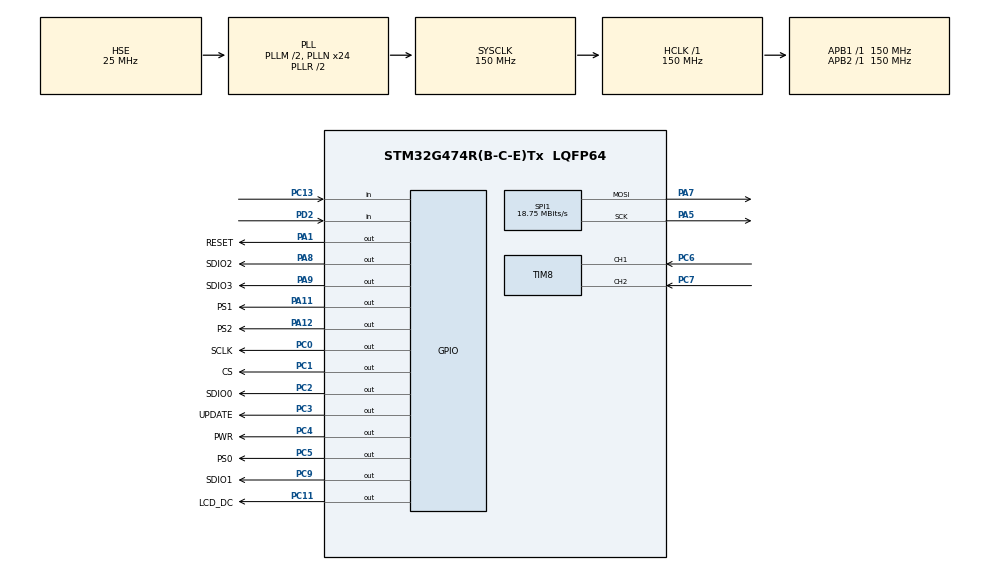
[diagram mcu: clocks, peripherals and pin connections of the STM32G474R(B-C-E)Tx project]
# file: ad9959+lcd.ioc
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Dma.Request0=SPI1_TX
Dma.SPI1_TX.0.Direction=DMA_MEMORY_TO_PERIPH
Dma.SPI1_TX.0.EventEnable=DISABLE
Dma.SPI1_TX.0.Instance=DMA1_Channel1
Dma.SPI1_TX.0.MemDataAlignment=DMA_MDATAALIGN_BYTE
Dma.SPI1_TX.0.MemInc=DMA_MINC_ENABLE
Dma.SPI1_TX.0.Mode=DMA_NORMAL
Dma.SPI1_TX.0.PeriphDataAlignment=DMA_PDATAALIGN_BYTE
Dma.SPI1_TX.0.PeriphInc=DMA_PINC_DISABLE
Dma.SPI1_TX.0.Polarity=HAL_DMAMUX_REQ_GEN_RISING
Dma.SPI1_TX.0.Priority=DMA_PRIORITY_LOW
Dma.SPI1_TX.0.RequestNumber=1
Dma.SPI1_TX.0.SignalID=NONE
Dma.SPI1_TX.0.SyncEnable=DISABLE
Dma.SPI1_TX.0.SyncPolarity=HAL_DMAMUX_SYNC_NO_EVENT
Dma.SPI1_TX.0.SyncRequestNumber=1
Dma.SPI1_TX.0.SyncSignalID=NONE
Mcu.Family=STM32G4
Mcu.Name=STM32G474R(B-C-E)Tx
Mcu.Package=LQFP64
NVIC.DMA1_Channel1_IRQn=true\:0\:0\:false\:false\:true\:false\:true\:true
NVIC.PriorityGroup=NVIC_PRIORITYGROUP_4
PA1.GPIO_Label=RESET
PA1.Signal=GPIO_Output
PA11.GPIO_Label=PS1
PA11.Signal=GPIO_Output
PA12.GPIO_Label=PS2
PA12.Signal=GPIO_Output
PA13.Mode=Trace_Asynchronous_SW
PA13.Signal=SYS_JTMS-SWDIO
PA14.Mode=Trace_Asynchronous_SW
PA14.Signal=SYS_JTCK-SWCLK
PA5.Mode=TX_Only_Simplex_Unidirect_Master
PA5.Signal=SPI1_SCK
PA7.Mode=TX_Only_Simplex_Unidirect_Master
PA7.Signal=SPI1_MOSI
PA8.GPIO_Label=SDIO2
PA8.Signal=GPIO_Output
PA9.GPIO_Label=SDIO3
PA9.Signal=GPIO_Output
PB3.Mode=Trace_Asynchronous_SW
PB3.Signal=SYS_JTDO-SWO
PC0.GPIO_Label=SCLK
PC0.Signal=GPIO_Output
PC1.GPIO_Label=CS
PC1.Signal=GPIO_Output
PC11.GPIO_Label=LCD_DC
PC11.Signal=GPIO_Output
PC13.GPIO_PuPd=GPIO_PULLUP
PC13.Signal=GPIO_Input
PC2.GPIO_Label=SDIO0
PC2.Signal=GPIO_Output
PC3.GPIO_Label=UPDATE
PC3.Signal=GPIO_Output
PC4.GPIO_Label=PWR
PC4.Signal=GPIO_Output
PC5.GPIO_Label=PS0
PC5.Signal=GPIO_Output
PC6.GPIO_PuPd=GPIO_PULLUP
PC6.Signal=S_TIM8_CH1
PC7.GPIO_PuPd=GPIO_PULLUP
PC7.Signal=S_TIM8_CH2
PC9.GPIO_Label=SDIO1
PC9.Signal=GPIO_Output
PD2.GPIO_PuPd=GPIO_PULLUP
PD2.Signal=GPIO_Input
PF0-OSC_IN.Mode=HSE-External-Oscillator
PF0-OSC_IN.Signal=RCC_OSC_IN
PF1-OSC_OUT.Mode=HSE-External-Oscillator
PF1-OSC_OUT.Signal=RCC_OSC_OUT
ProjectManager.HeapSize=0x200
ProjectManager.StackSize=0x400
ProjectManager.TargetToolchain=STM32CubeIDE
RCC.ADC12Freq_Value=150000000
RCC.ADC345Freq_Value=150000000
RCC.AHBFreq_Value=150000000
RCC.APB1Freq_Value=150000000
RCC.APB1TimFreq_Value=150000000
RCC.APB2Freq_Value=150000000
RCC.APB2TimFreq_Value=150000000
RCC.CortexFreq_Value=150000000
RCC.EXTERNAL_CLOCK_VALUE=12288000
RCC.HCLKFreq_Value=150000000
RCC.HSE_VALUE=25000000
RCC.HSI48_VALUE=48000000
RCC.HSI_VALUE=16000000
RCC.LSE_VALUE=32768
RCC.PLLM=RCC_PLLM_DIV2
RCC.PLLN=24
RCC.PLLSourceVirtual=RCC_PLLSOURCE_HSE
RCC.SYSCLKFreq_VALUE=150000000
RCC.SYSCLKSource=RCC_SYSCLKSOURCE_PLLCLK
RCC.USBFreq_Value=150000000
RCC.VCOOutputFreq_Value=300000000
SH.S_TIM8_CH1.0=TIM8_CH1,Encoder_Interface
SH.S_TIM8_CH2.0=TIM8_CH2,Encoder_Interface
SPI1.BaudRatePrescaler=SPI_BAUDRATEPRESCALER_8
SPI1.CLKPhase=SPI_PHASE_1EDGE
SPI1.CLKPolarity=SPI_POLARITY_LOW
SPI1.CalculateBaudRate=18.75 MBits/s
SPI1.DataSize=SPI_DATASIZE_8BIT
SPI1.Direction=SPI_DIRECTION_2LINES
SPI1.Mode=SPI_MODE_MASTER
SPI1.NSSPMode=SPI_NSS_PULSE_DISABLE
SPI1.VirtualType=VM_MASTER
TIM8.EncoderMode=TIM_ENCODERMODE_TI12
TIM8.IC1Filter=0
TIM8.IC2Filter=0
VP_SYS_VS_DBSignals.Mode=DisableDeadBatterySignals
board=custom

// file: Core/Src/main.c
/* USER CODE BEGIN Header */
/**
  ******************************************************************************
  * @file           : main.c
  * @brief          : Main program body
  ******************************************************************************
  * @attention
  *
  * Copyright (c) 2024 STMicroelectronics.
  * All rights reserved.
  *
  * This software is licensed under terms that can be found in the LICENSE file
  * in the root directory of this software component.
  * If no LICENSE file comes with this software, it is provided AS-IS.
  *
  ******************************************************************************
  */
/* USER CODE END Header */
#include "main.h"

/* USER CODE BEGIN Includes */
#include "tft18.h"
/* USER CODE END Includes */

SPI_HandleTypeDef hspi1;
DMA_HandleTypeDef hdma_spi1_tx;

TIM_HandleTypeDef htim8;

void SystemClock_Config(void);
static void MX_GPIO_Init(void);
static void MX_DMA_Init(void);
static void MX_SPI1_Init(void);
static void MX_TIM8_Init(void);

/* USER CODE BEGIN 0 */
#define SCLK_LOW HAL_GPIO_WritePin(GPIOC, 1<<0, GPIO_PIN_RESET)
#define SCLK_HIGH HAL_GPIO_WritePin(GPIOC, 1<<0, GPIO_PIN_SET)
#define CS_LOW HAL_GPIO_WritePin(GPIOC, 1<<1, GPIO_PIN_RESET)
#define CS_HIGH HAL_GPIO_WritePin(GPIOC, 1<<1, GPIO_PIN_SET)
#define SDIO0_LOW HAL_GPIO_WritePin(GPIOC, 1<<2, GPIO_PIN_RESET)
#define SDIO0_HIGH HAL_GPIO_WritePin(GPIOC, 1<<2, GPIO_PIN_SET)
#define UPDATE_LOW HAL_GPIO_WritePin(GPIOC, 1<<3, GPIO_PIN_RESET)
#define UPDATE_HIGH HAL_GPIO_WritePin(GPIOC, 1<<3, GPIO_PIN_SET)

int mode = 0;
int mode_t = 0;
int ampl = 0;
int ampl_t = 0;
int modual = 0;
int modual_t = 0;
int delay = 0;
int delay_t = 0;
int atten = 0;
int atten_t = 0;
int freq = 30000000;
int freq_t = 30000000;
int phase = 0;
int phase_t = 0;

float DB[11] = {
1000,
891,
630,
500,
398,
316,
251,
199,
158,
126,
100};

void AD9959_WriteData(uint8_t RegisterAddress, uint8_t NumberofRegisters, uint8_t *RegisterData)
{
	uint8_t	ControlValue = 0;
	uint8_t	ValueToWrite = 0;
	uint8_t	RegisterIndex = 0;
	uint8_t	i = 0;
	ControlValue = RegisterAddress;
	SCLK_LOW;
	CS_LOW;
	for(i=0; i<8; i++)
	{
		SCLK_LOW;
		if(0x80 == (ControlValue & 0x80))
		SDIO0_HIGH;
		else
			SDIO0_LOW;
		SCLK_HIGH;
		ControlValue <<= 1;
	}
	SCLK_LOW;
	for (RegisterIndex=0; RegisterIndex<NumberofRegisters; RegisterIndex++)
	{
		ValueToWrite = RegisterData[RegisterIndex];
		for (i=0; i<8; i++)
		{
			SCLK_LOW;
			if(0x80 == (ValueToWrite & 0x80))
			SDIO0_HIGH;
			else
			SDIO0_LOW;
			SCLK_HIGH;
			ValueToWrite <<= 1;
		}
		SCLK_LOW;
	}
  CS_HIGH;
}
void Write_CFTW0(uint32_t fre)
{
	uint8_t CFTW0_DATA[4] ={0x00,0x00,0x00,0x00};
	uint32_t Temp;
	Temp=(uint32_t)fre * 4294967296 / 500000000;
	CFTW0_DATA[3]=(uint8_t)Temp;
	CFTW0_DATA[2]=(uint8_t)(Temp>>8);
	CFTW0_DATA[1]=(uint8_t)(Temp>>16);
	CFTW0_DATA[0]=(uint8_t)(Temp>>24);
	AD9959_WriteData(0x04,4,CFTW0_DATA);//CTW0 address 0x04
}
void AD9959_Set_Freq(uint8_t Channel,uint32_t Freq)
{
	uint8_t CHANNEL[1] = {0x00};
	CHANNEL[0]=Channel;
	AD9959_WriteData(0x00,1,CHANNEL);
    Write_CFTW0(Freq);
}

void Write_ACR(uint16_t Ampl)
{
	uint32_t A_temp=0;
	uint8_t ACR_DATA[3] = {0x00,0x00,0x00};//default Value = 0x--0000 Rest = 18.91/Iout
    A_temp=Ampl|0x1000;
	ACR_DATA[1] = (uint8_t)(A_temp>>8); //高位数据
	ACR_DATA[2] = (uint8_t)A_temp;  //低位数据
    AD9959_WriteData(0x06, 3, ACR_DATA); //ACR address 0x06.CHn设定幅度
}

void AD9959_Set_Ampl(uint8_t Channel, uint16_t Ampl)
{
	uint8_t CHANNEL[1] = {0x00};
	CHANNEL[0]=Channel;
	AD9959_WriteData(0x00,1,CHANNEL); //控制寄存器写入CHn通道�??
	Write_ACR(Ampl);							//	CHn设定幅度
}
void Write_CPOW0(uint16_t Phase)
{
	uint8_t CPOW0_data[2] = {0x00,0x00};
	CPOW0_data[1]=(uint8_t)Phase;
	CPOW0_data[0]=(uint8_t)(Phase>>8);
	AD9959_WriteData(0x05,2,CPOW0_data);//CPOW0 address 0x05.CHn设定相位
}

void AD9959_Set_Phase(uint8_t Channel,uint16_t Phase)
{
	uint8_t CHANNEL[1] = {0x00};
	CHANNEL[0]=Channel;
	AD9959_WriteData(0x00,1,CHANNEL); //控制寄存器写入CHn通道，
	Write_CPOW0(Phase);//CHn设定相位
}

void AD9959_Init(void)
{
  Intserve();  //IO口电平状态初始化
  IntReset();  //AD9959复位
	//初始化功能寄存器
  uint8_t FR1_DATA[3] = {0xD0,0x00,0x00};//VCO gain control[23]=1系统时钟高于255Mhz; PLL[22:18]=10100,20倍频,20*25M=500MHZ; Charge pump control = 75uA
  uint8_t FR2_DATA[2] = {0x00,0x00};	// 双方向扫描，即从起始值扫到结束�?�后，又从结束�?�扫到起始�??
  AD9959_WriteData(0x01,3,FR1_DATA);//写功能寄存器1
  AD9959_WriteData(0x02,2,FR2_DATA);
}
void IntReset()
{
	HAL_GPIO_WritePin(GPIOA, 1<<1, GPIO_PIN_RESET);
	HAL_Delay(1);
	HAL_GPIO_WritePin(GPIOA, 1<<1, 1);
	HAL_Delay(1);
	HAL_GPIO_WritePin(GPIOA, 1<<1, 0);
}
void Intserve(void)
{
	HAL_GPIO_WritePin(PWR_GPIO_Port, PWR_Pin, 0);
    CS_HIGH;
    SCLK_LOW;
    UPDATE_LOW;
    HAL_GPIO_WritePin(PS0_GPIO_Port, PS0_Pin, 0);
    HAL_GPIO_WritePin(PS1_GPIO_Port, PS1_Pin, 0);
    HAL_GPIO_WritePin(PS2_GPIO_Port, PS2_Pin, 0);
    //HAL_GPIO_WritePin(PS3_GPIO_Port, PS3_Pin, 0);
    SDIO0_HIGH;
    HAL_GPIO_WritePin(SDIO1_GPIO_Port, SDIO1_Pin, 0);
    HAL_GPIO_WritePin(SDIO2_GPIO_Port, SDIO2_Pin, 0);
    HAL_GPIO_WritePin(SDIO3_GPIO_Port, SDIO3_Pin, 0);
}
void IO_Update(void)
{
	UPDATE_LOW;
	HAL_Delay(1);
	UPDATE_HIGH;
	HAL_Delay(3);
	UPDATE_LOW;
}
/* USER CODE END 0 */

int main(void)
{

  /* MCU Configuration--------------------------------------------------------*/

  /* Reset of all peripherals, Initializes the Flash interface and the Systick. */
  HAL_Init();

  /* Configure the system clock */
  SystemClock_Config();

  /* Initialize all configured peripherals */
  MX_GPIO_Init();
  MX_DMA_Init();
  MX_SPI1_Init();
  MX_TIM8_Init();
  /* USER CODE BEGIN 2 */
  setup();
  HAL_TIM_Encoder_Start(&htim8, TIM_CHANNEL_ALL);
  GPIO_PinState prev = GPIO_PIN_SET;
  AD9959_Init();
  AD9959_Set_Ampl(0x30, 1000);
  AD9959_Set_Phase(0x30, 0);
  AD9959_Set_Freq(0x30, freq);
  IO_Update();
  /* USER CODE END 2 */

  /* Infinite loop */
  /* USER CODE BEGIN WHILE */
  while (1)
  {
	  int Direction = __HAL_TIM_IS_TIM_COUNTING_DOWN(&htim8);   //读取电机转动方向
	  int CaptureNumber = (short)__HAL_TIM_GET_COUNTER(&htim8);
	  int counter = CaptureNumber / 4 % 7 ;

	  switch(counter)
	  {
	  case 0:
		  lcd_show_picture(101, 5 , 12, 20, MenuCursor16x16);
		  lcd_show_picture(101, 25 , 12, 20, gImage_black);
		  lcd_show_picture(101, 45 , 12, 20, gImage_black);
		  lcd_show_picture(101, 65 , 12, 20, gImage_black);
		  lcd_show_picture(101, 85 , 12, 20, gImage_black);
		  lcd_show_picture(101, 105 , 12, 20, gImage_black);
		  lcd_show_picture(101, 125 , 12, 20, gImage_black);
		  break;
	  case 1:
		  lcd_show_picture(101, 25 , 12, 20, MenuCursor16x16);
		  lcd_show_picture(101, 5 , 12, 20, gImage_black);
		  lcd_show_picture(101, 45 , 12, 20, gImage_black);
		  lcd_show_picture(101, 65 , 12, 20, gImage_black);
		  lcd_show_picture(101, 85 , 12, 20, gImage_black);
		  lcd_show_picture(101, 105 , 12, 20, gImage_black);
		  lcd_show_picture(101, 125 , 12, 20, gImage_black);
		  break;
	  case 2:
		  lcd_show_picture(101, 45 , 12, 20, MenuCursor16x16);
		  lcd_show_picture(101, 25 , 12, 20, gImage_black);
		  lcd_show_picture(101, 5 , 12, 20, gImage_black);
		  lcd_show_picture(101, 65 , 12, 20, gImage_black);
		  lcd_show_picture(101, 85 , 12, 20, gImage_black);
		  lcd_show_picture(101, 105 , 12, 20, gImage_black);
		  lcd_show_picture(101, 125 , 12, 20, gImage_black);
		  break;
	  case 3:
		  lcd_show_picture(101, 65 , 12, 20, MenuCursor16x16);
		  lcd_show_picture(101, 25 , 12, 20, gImage_black);
		  lcd_show_picture(101, 45 , 12, 20, gImage_black);
		  lcd_show_picture(101, 5 , 12, 20, gImage_black);
		  lcd_show_picture(101, 85 , 12, 20, gImage_black);
		  lcd_show_picture(101, 105 , 12, 20, gImage_black);
		  lcd_show_picture(101, 125 , 12, 20, gImage_black);
		  break;
	  case 4:
		  lcd_show_picture(101, 85 , 12, 20, MenuCursor16x16);
		  lcd_show_picture(101, 25 , 12, 20, gImage_black);
		  lcd_show_picture(101, 45 , 12, 20, gImage_black);
		  lcd_show_picture(101, 65 , 12, 20, gImage_black);
		  lcd_show_picture(101, 5 , 12, 20, gImage_black);
		  lcd_show_picture(101, 105 , 12, 20, gImage_black);
		  lcd_show_picture(101, 125 , 12, 20, gImage_black);
		  break;
	  case 5:
		  lcd_show_picture(101, 105 , 12, 20, MenuCursor16x16);
		  lcd_show_picture(101, 25 , 12, 20, gImage_black);
		  lcd_show_picture(101, 45 , 12, 20, gImage_black);
		  lcd_show_picture(101, 65 , 12, 20, gImage_black);
		  lcd_show_picture(101, 85 , 12, 20, gImage_black);
		  lcd_show_picture(101, 5 , 12, 20, gImage_black);
		  lcd_show_picture(101, 125 , 12, 20, gImage_black);
		  break;
	  case 6:
		  lcd_show_picture(101, 125 , 12, 20, MenuCursor16x16);
		  lcd_show_picture(101, 25 , 12, 20, gImage_black);
		  lcd_show_picture(101, 45 , 12, 20, gImage_black);
		  lcd_show_picture(101, 65 , 12, 20, gImage_black);
		  lcd_show_picture(101, 85 , 12, 20, gImage_black);
		  lcd_show_picture(101, 105 , 12, 20, gImage_black);
		  lcd_show_picture(101, 5 , 12, 20, gImage_black);
		  break;
	  }
	  GPIO_PinState curr = HAL_GPIO_ReadPin(GPIOC, 1<<13);
	  if (prev && !curr)
	  {
		  switch(counter)
		  {
		  case 0:
			  lcd_show_str(100, 145,"MODE:\n");
			  while(1)
			  {
				  mode = abs((CaptureNumber) / 4 % 2 + 1);
				  if(mode != mode_t)
				  {
					  mode_t = mode;
					  if (mode < 2) lcd_show_str(101,165,"CW");
					  else lcd_show_str(101,165,"AM");
				  }
				  CaptureNumber = (short)__HAL_TIM_GET_COUNTER(&htim8);
				  if (HAL_GPIO_ReadPin(GPIOD, 1<<2) == GPIO_PIN_RESET)
				  {
					  lcd_show_str(101,185,"CONFIRM?\n");
					  break;
				  }
			  }
			  // api

			  break;
		  case 1:
			  lcd_show_str(100, 145,"AMPL:\n");
			  while (1)
			  {
				  ampl = abs((CaptureNumber) / 4 % 10 * 100 + 100);
				  if(ampl != ampl_t)
				  {
					  ampl_t = ampl;
					  lcd_show_num(ampl);
				  }
				  CaptureNumber = (short)__HAL_TIM_GET_COUNTER(&htim8);
				  if (HAL_GPIO_ReadPin(GPIOD, 1<<2) == GPIO_PIN_RESET)
				  {
					  lcd_show_str(101,185,"CONFIRM?\n");
					  break;
				  }
			  }
			  //need api
			  AD9959_Set_Ampl(0x30,ampl);
			  IO_Update();
			  break;
		  case 2:
			  lcd_show_str(100, 145,"MODULATION:\n");
			  while (1)
			  {
				  modual = abs((((CaptureNumber) / 4 )% 7) * 10 + 30);
				  if(modual != modual_t)
				  {
					  modual_t = modual;
					  lcd_show_num(modual);
				  }
				  CaptureNumber = (short)__HAL_TIM_GET_COUNTER(&htim8);
				  if (HAL_GPIO_ReadPin(GPIOD, 1<<2) == GPIO_PIN_RESET)
				  {
					  lcd_show_str(101,185,"CONFIRM?\n");
					  break;
				  }
			  }
			  //need api
			  break;
		  case 3:
			  lcd_show_str(100, 145,"DELAY:\n");
			  while (1)
			  {
				  delay = abs((CaptureNumber) / 4 % 6 * 30 + 50);
				  if(delay != delay_t)
				  {
					  delay_t = delay;
					  lcd_show_num(delay);
				  }
				  CaptureNumber = (short)__HAL_TIM_GET_COUNTER(&htim8);
				  if (HAL_GPIO_ReadPin(GPIOD, 1<<2) == GPIO_PIN_RESET)
				  {
					  lcd_show_str(101,185,"CONFIRM?\n");
					  break;
				  }
			  }
			  //need api
			  float final_phase = (float)delay * (float)1e-9 * (float)freq ;
			  int integer = final_phase;
			  float set_phase = 1 - final_phase + (float)integer + (float)phase/360;
			  int set_phase_int = set_phase;
			  set_phase = (set_phase - (float)set_phase_int) * 16383;
			  AD9959_Set_Phase(0x20, set_phase);
			  IO_Update();
			  break;
		  case 4:
			  lcd_show_str(100, 145,"ATTENUATION:\n");
			  while (1)
			  {
				  atten = abs((CaptureNumber) / 4 % 11 * 2);
				  if(atten != atten_t)
				  {
					  atten_t = atten;
					  lcd_show_num(atten);
				  }
				  CaptureNumber = (short)__HAL_TIM_GET_COUNTER(&htim8);
				  if (HAL_GPIO_ReadPin(GPIOD, 1<<2) == GPIO_PIN_RESET)
				  {
					  lcd_show_str(101,185,"CONFIRM?\n");
					  break;
				  }
			  }
			  //need api
			  AD9959_Set_Ampl(0x20,DB[atten / 2] * ampl / 1000);
			  IO_Update();
			  break;
		  case 5:
			  lcd_show_str(100, 145,"FREQUENCY:\n");
			  while (1)
			  {
				  freq = abs((CaptureNumber) / 4 % 11 + 30);
				  if(freq != freq_t)
				  {
					  freq_t = freq;
					  lcd_show_num(freq);
				  }
				  CaptureNumber = (short)__HAL_TIM_GET_COUNTER(&htim8);
				  if (HAL_GPIO_ReadPin(GPIOD, 1<<2) == GPIO_PIN_RESET)
				  {
					  lcd_show_str(101,185,"CONFIRM?\n");
					  break;
				  }
			  }
			  //need api
			  AD9959_Set_Freq(0x30,freq*1000000);
			  IO_Update();
			  break;
		  case 6:
			  lcd_show_str(100, 145,"INIT PHASE\n");
			  while (1)
			  {
				  phase = abs((CaptureNumber) / 4 % 7 * 30);
				  if(phase != phase_t)
				  {
					  phase_t = phase;
					  lcd_show_num(phase);
				  }
				  CaptureNumber = (short)__HAL_TIM_GET_COUNTER(&htim8);
				  if (HAL_GPIO_ReadPin(GPIOD, 1<<2) == GPIO_PIN_RESET)
				  {
					  lcd_show_str(101,185,"CONFIRM?\n");
					  break;
				  }
			  }
			  //need api
			  AD9959_Set_Phase(0x20, phase * 16383 / 360);
			  IO_Update();
			  break;
		  }
		  while(HAL_GPIO_ReadPin(GPIOC, 1<<13) != 0)		  ;
		  //lcd_show_picture(101, 105, 240, 100, gImage_black_big);
		  lcd_show_black(100, 145, 239, 100);
	  }
	  prev = curr;

    /* USER CODE END WHILE */

  }
}

void SystemClock_Config(void)
{
  RCC_OscInitTypeDef RCC_OscInitStruct = {0};
  RCC_ClkInitTypeDef RCC_ClkInitStruct = {0};

  /** Configure the main internal regulator output voltage
  */
  HAL_PWREx_ControlVoltageScaling(PWR_REGULATOR_VOLTAGE_SCALE1);

  /** Initializes the RCC Oscillators according to the specified parameters
  * in the RCC_OscInitTypeDef structure.
  */
  RCC_OscInitStruct.OscillatorType = RCC_OSCILLATORTYPE_HSE;
  RCC_OscInitStruct.HSEState = RCC_HSE_ON;
  RCC_OscInitStruct.PLL.PLLState = RCC_PLL_ON;
  RCC_OscInitStruct.PLL.PLLSource = RCC_PLLSOURCE_HSE;
  RCC_OscInitStruct.PLL.PLLM = RCC_PLLM_DIV2;
  RCC_OscInitStruct.PLL.PLLN = 24;
  RCC_OscInitStruct.PLL.PLLP = RCC_PLLP_DIV2;
  RCC_OscInitStruct.PLL.PLLQ = RCC_PLLQ_DIV2;
  RCC_OscInitStruct.PLL.PLLR = RCC_PLLR_DIV2;
  if (HAL_RCC_OscConfig(&RCC_OscInitStruct) != HAL_OK)
  {
    Error_Handler();
  }

  /** Initializes the CPU, AHB and APB buses clocks
  */
  RCC_ClkInitStruct.ClockType = RCC_CLOCKTYPE_HCLK|RCC_CLOCKTYPE_SYSCLK
                              |RCC_CLOCKTYPE_PCLK1|RCC_CLOCKTYPE_PCLK2;
  RCC_ClkInitStruct.SYSCLKSource = RCC_SYSCLKSOURCE_PLLCLK;
  RCC_ClkInitStruct.AHBCLKDivider = RCC_SYSCLK_DIV1;
  RCC_ClkInitStruct.APB1CLKDivider = RCC_HCLK_DIV1;
  RCC_ClkInitStruct.APB2CLKDivider = RCC_HCLK_DIV1;

  if (HAL_RCC_ClockConfig(&RCC_ClkInitStruct, FLASH_LATENCY_4) != HAL_OK)
  {
    Error_Handler();
  }
}

static void MX_SPI1_Init(void)
{

  /* SPI1 parameter configuration*/
  hspi1.Instance = SPI1;
  hspi1.Init.Mode = SPI_MODE_MASTER;
  hspi1.Init.Direction = SPI_DIRECTION_2LINES;
  hspi1.Init.DataSize = SPI_DATASIZE_8BIT;
  hspi1.Init.CLKPolarity = SPI_POLARITY_LOW;
  hspi1.Init.CLKPhase = SPI_PHASE_1EDGE;
  hspi1.Init.NSS = SPI_NSS_SOFT;
  hspi1.Init.BaudRatePrescaler = SPI_BAUDRATEPRESCALER_8;
  hspi1.Init.FirstBit = SPI_FIRSTBIT_MSB;
  hspi1.Init.TIMode = SPI_TIMODE_DISABLE;
  hspi1.Init.CRCCalculation = SPI_CRCCALCULATION_DISABLE;
  hspi1.Init.CRCPolynomial = 7;
  hspi1.Init.CRCLength = SPI_CRC_LENGTH_DATASIZE;
  hspi1.Init.NSSPMode = SPI_NSS_PULSE_DISABLE;
  if (HAL_SPI_Init(&hspi1) != HAL_OK)
  {
    Error_Handler();
  }

}

static void MX_TIM8_Init(void)
{

  TIM_Encoder_InitTypeDef sConfig = {0};
  TIM_MasterConfigTypeDef sMasterConfig = {0};

  htim8.Instance = TIM8;
  htim8.Init.Prescaler = 0;
  htim8.Init.CounterMode = TIM_COUNTERMODE_UP;
  htim8.Init.Period = 65535;
  htim8.Init.ClockDivision = TIM_CLOCKDIVISION_DIV1;
  htim8.Init.RepetitionCounter = 0;
  htim8.Init.AutoReloadPreload = TIM_AUTORELOAD_PRELOAD_DISABLE;
  sConfig.EncoderMode = TIM_ENCODERMODE_TI12;
  sConfig.IC1Polarity = TIM_ICPOLARITY_RISING;
  sConfig.IC1Selection = TIM_ICSELECTION_DIRECTTI;
  sConfig.IC1Prescaler = TIM_ICPSC_DIV1;
  sConfig.IC1Filter = 0;
  sConfig.IC2Polarity = TIM_ICPOLARITY_RISING;
  sConfig.IC2Selection = TIM_ICSELECTION_DIRECTTI;
  sConfig.IC2Prescaler = TIM_ICPSC_DIV1;
  sConfig.IC2Filter = 0;
  if (HAL_TIM_Encoder_Init(&htim8, &sConfig) != HAL_OK)
  {
    Error_Handler();
  }
  sMasterConfig.MasterOutputTrigger = TIM_TRGO_RESET;
  sMasterConfig.MasterOutputTrigger2 = TIM_TRGO2_RESET;
  sMasterConfig.MasterSlaveMode = TIM_MASTERSLAVEMODE_DISABLE;
  if (HAL_TIMEx_MasterConfigSynchronization(&htim8, &sMasterConfig) != HAL_OK)
  {
    Error_Handler();
  }

}

static void MX_DMA_Init(void)
{

  /* DMA controller clock enable */
  __HAL_RCC_DMAMUX1_CLK_ENABLE();
  __HAL_RCC_DMA1_CLK_ENABLE();

  /* DMA interrupt init */
  /* DMA1_Channel1_IRQn interrupt configuration */
  HAL_NVIC_SetPriority(DMA1_Channel1_IRQn, 0, 0);
  HAL_NVIC_EnableIRQ(DMA1_Channel1_IRQn);

}

static void MX_GPIO_Init(void)
{
  GPIO_InitTypeDef GPIO_InitStruct = {0};

  /* GPIO Ports Clock Enable */
  __HAL_RCC_GPIOC_CLK_ENABLE();
  __HAL_RCC_GPIOF_CLK_ENABLE();
  __HAL_RCC_GPIOA_CLK_ENABLE();
  __HAL_RCC_GPIOD_CLK_ENABLE();
  __HAL_RCC_GPIOB_CLK_ENABLE();

  /*Configure GPIO pin Output Level */
  HAL_GPIO_WritePin(GPIOC, SCLK_Pin|CS_Pin|SDIO0_Pin|UPDATE_Pin
                          |PWR_Pin|PS0_Pin|SDIO1_Pin|LCD_DC_Pin, GPIO_PIN_RESET);

  /*Configure GPIO pin Output Level */
  HAL_GPIO_WritePin(GPIOA, RESET_Pin|SDIO2_Pin|SDIO3_Pin|PS1_Pin
                          |PS2_Pin, GPIO_PIN_RESET);

  /*Configure GPIO pin : PC13 */
  GPIO_InitStruct.Pin = GPIO_PIN_13;
  GPIO_InitStruct.Mode = GPIO_MODE_INPUT;
  GPIO_InitStruct.Pull = GPIO_PULLUP;
  HAL_GPIO_Init(GPIOC, &GPIO_InitStruct);

  /*Configure GPIO pins : SCLK_Pin CS_Pin SDIO0_Pin UPDATE_Pin
                           PWR_Pin PS0_Pin SDIO1_Pin LCD_DC_Pin */
  GPIO_InitStruct.Pin = SCLK_Pin|CS_Pin|SDIO0_Pin|UPDATE_Pin
                          |PWR_Pin|PS0_Pin|SDIO1_Pin|LCD_DC_Pin;
  GPIO_InitStruct.Mode = GPIO_MODE_OUTPUT_PP;
  GPIO_InitStruct.Pull = GPIO_NOPULL;
  GPIO_InitStruct.Speed = GPIO_SPEED_FREQ_LOW;
  HAL_GPIO_Init(GPIOC, &GPIO_InitStruct);

  /*Configure GPIO pins : RESET_Pin SDIO2_Pin SDIO3_Pin PS1_Pin
                           PS2_Pin */
  GPIO_InitStruct.Pin = RESET_Pin|SDIO2_Pin|SDIO3_Pin|PS1_Pin
                          |PS2_Pin;
  GPIO_InitStruct.Mode = GPIO_MODE_OUTPUT_PP;
  GPIO_InitStruct.Pull = GPIO_NOPULL;
  GPIO_InitStruct.Speed = GPIO_SPEED_FREQ_LOW;
  HAL_GPIO_Init(GPIOA, &GPIO_InitStruct);

  /*Configure GPIO pin : PD2 */
  GPIO_InitStruct.Pin = GPIO_PIN_2;
  GPIO_InitStruct.Mode = GPIO_MODE_INPUT;
  GPIO_InitStruct.Pull = GPIO_PULLUP;
  HAL_GPIO_Init(GPIOD, &GPIO_InitStruct);

}

void Error_Handler(void)
{
  __disable_irq();
  while (1)
  {
  }
}
